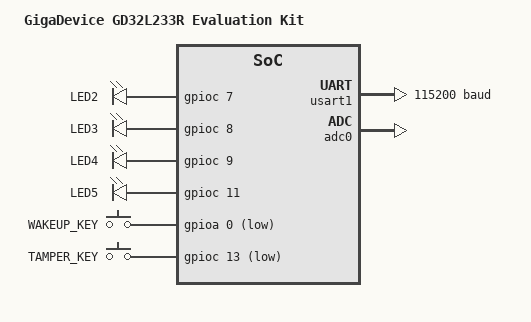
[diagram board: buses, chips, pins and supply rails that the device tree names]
/*
 * Copyright (c) 2022 BrainCo Inc.
 * SPDX-License-Identifier: Apache-2.0
 */

/dts-v1/;

#include <gigadevice/gd32l23x/gd32l233rc.dtsi>
#include "gd32l233r_eval-pinctrl.dtsi"

/ {
	model = "GigaDevice GD32L233R Evaluation Kit";
	compatible = "gd,gd32l233r-eval";

	chosen {
		zephyr,sram = &sram;
		zephyr,flash = &flash0;
		zephyr,console = &usart1;
		zephyr,shell-uart = &usart1;
		zephyr,flash-controller = &fmc;
	};

	leds {
		compatible = "gpio-leds";
		led2: led2 {
			gpios = <&gpioc 7 GPIO_ACTIVE_HIGH>;
			label = "LED2";
		};
		led3: led3 {
			gpios = <&gpioc 8 GPIO_ACTIVE_HIGH>;
			label = "LED3";
		};
		led4: led4 {
			gpios = <&gpioc 9 GPIO_ACTIVE_HIGH>;
			label = "LED4";
		};
		led5: led5 {
			gpios = <&gpioc 11 GPIO_ACTIVE_HIGH>;
			label = "LED5";
		};
	};

	gpio_keys {
		compatible = "gpio-keys";
		wakeup_key: wakeup_key {
			label = "WAKEUP_KEY";
			gpios = <&gpioa 0 GPIO_ACTIVE_LOW>;
		};
		tamper_key: tamper_key {
			label = "TAMPER_KEY";
			gpios = <&gpioc 13 GPIO_ACTIVE_LOW>;
		};
	};

	aliases {
		led0 = &led2;
		led1 = &led3;
	};
};

&gpioa {
	status = "okay";
};

&gpiob {
	status = "okay";
};

&gpioc {
	status = "okay";
};

&gpiod {
	status = "okay";
};

&gpiof {
	status = "okay";
};

&usart1 {
	status = "okay";
	current-speed = <115200>;
	pinctrl-0 = <&usart1_default>;
	pinctrl-names = "default";
};

&adc0 {
	status = "okay";
	pinctrl-0 = <&adc0_default>;
	pinctrl-names = "default";
};
